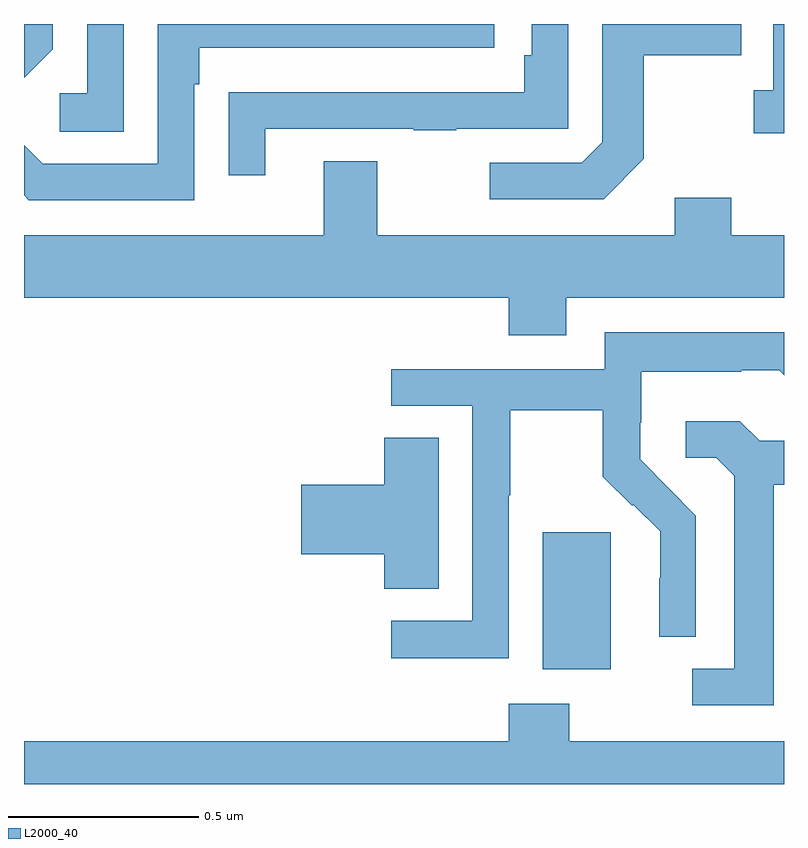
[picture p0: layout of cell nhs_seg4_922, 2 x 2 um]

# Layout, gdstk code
import gdstk
lib = gdstk.Library(unit=1e-6, precision=1e-09)
def R(c, l, rs):  # rectangles x0, y0, x1, y1
    for r in rs: c.add(gdstk.rectangle(r[:2], r[2:], *l))
def P(c, l, *ps):  # polygons
    for p in ps: c.add(gdstk.Polygon(p, *l))
L2000_40 = (2000, 40)

nhs_seg4_922 = lib.new_cell('nhs_seg4_922')
R(nhs_seg4_922, L2000_40, [(123.365,769.202,123.544,769.563)])
P(nhs_seg4_922, L2000_40, [(122.635,770.625),(123.025,770.625),(123.025,770.62),(123.137,770.62),(123.137,770.625),(123.432,770.625),(123.432,770.9),(123.336,770.9),(123.336,770.818),(123.316,770.818),(123.316,770.721),(122.641,770.721),(122.641,770.72),(122.539,770.72),(122.539,770.502),(122.635,770.502)],
  [(122.448,770.741),(122.461,770.741),(122.461,770.838),(123.238,770.838),(123.238,770.9),(122.352,770.9),(122.352,770.532),(122.049,770.532),(122,770.581),(122,770.449),(122.013,770.436),(122.448,770.436)],
  [(124,770.9),(123.972,770.9),(123.972,770.726),(123.921,770.726),(123.921,770.613),(124,770.613)],
  [(123.631,770.545),(123.631,770.818),(123.887,770.818),(123.887,770.9),(123.522,770.9),(123.522,770.589),(123.468,770.535),(123.225,770.535),(123.225,770.439),(123.525,770.439)],
  [(122.262,770.9),(122.166,770.9),(122.166,770.718),(122.094,770.718),(122.094,770.617),(122.262,770.617)],
  [(122.076,770.834),(122.076,770.9),(122,770.9),(122,770.758)],
  [(123.427,770.18),(124,770.18),(124,770.344),(123.861,770.344),(123.861,770.443),(123.713,770.443),(123.713,770.344),(122.929,770.344),(122.929,770.539),(122.789,770.539),(122.789,770.344),(122,770.344),(122,770.18),(123.275,770.18),(123.275,770.081),(123.427,770.081)],
  [(123.276,769.66),(123.279,769.66),(123.279,769.884),(123.523,769.884),(123.523,769.709),(123.6,769.632),(123.603,769.635),(123.674,769.565),(123.674,769.442),(123.672,769.442),(123.672,769.288),(123.768,769.288),(123.768,769.606),(123.695,769.679),(123.696,769.68),(123.622,769.754),(123.622,769.851),(123.624,769.851),(123.624,769.985),(123.887,769.985),(123.887,769.989),(123.987,769.989),(124,769.976),(124,770.089),(123.528,770.089),(123.528,769.992),(122.967,769.992),(122.967,769.896),(123.18,769.896),(123.18,769.329),(122.967,769.329),(122.967,769.231),(123.276,769.231)],
  [(123.973,769.688),(124,769.688),(124,769.803),(123.936,769.803),(123.884,769.855),(123.741,769.855),(123.741,769.758),(123.822,769.758),(123.869,769.711),(123.869,769.203),(123.759,769.203),(123.759,769.107),(123.973,769.107)],
  [(123.091,769.811),(122.948,769.811),(122.948,769.688),(122.73,769.688),(122.73,769.505),(122.948,769.505),(122.948,769.414),(123.091,769.414)],
  [(124,769.012),(123.435,769.012),(123.435,769.111),(123.275,769.111),(123.275,769.012),(122,769.012),(122,768.9),(124,768.9)])

lib.write_gds('nhs_seg4_922.gds')
